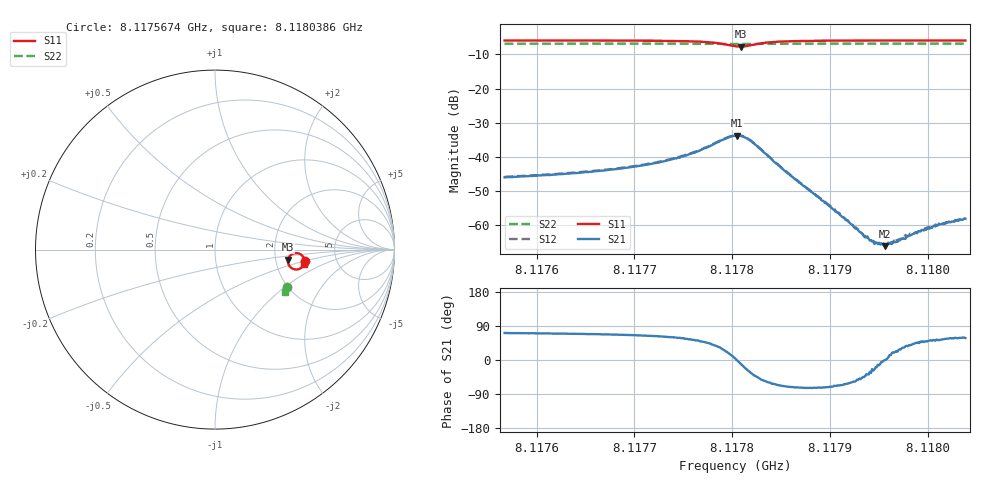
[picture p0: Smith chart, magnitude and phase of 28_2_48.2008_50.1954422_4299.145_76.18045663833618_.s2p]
#  HZ  S  RI  R  50.00
! Rohde & Schwarz Vector Network Analyzer
! Rohde-Schwarz,ZNB20-2Port,1311601062101988,3.16
! Created: UTC 3/20/2024, 11:37:14 AM
! freq[Hz]  re:S11  im:S11  re:S21  im:S21  re:S12  im:S12  re:S22  im:S22
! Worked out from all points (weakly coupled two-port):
!   401 points, 8.1175674 GHz to 8.1180386 GHz, reference 50 ohm
!   highest |S21| = -33.76 dB at 8.1178053 GHz (marker M1); lowest = -66.1 dB at 8.1179561 GHz (marker M2)
!   lowest |S11| = -7.7 dB at 8.1178089 GHz (marker M3), VSWR 2.40, Z = 117 - j15.9 ohm
!   |S11| at or under -10 dB: nowhere
!   |S22| runs from -7.0 to -6.9 dB; largest |S21 - S12| = 0.00064
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8.11756738e9  0.5007 -0.0642  0.00162 0.00478  0.0017 0.00478  0.4025 -0.2065
8.1176463e9  0.4984 -0.074  0.00215 0.00552  0.00227 0.00561  0.4001 -0.2116
8.11769106e9  0.4956 -0.0816  0.00281 0.00635  0.00294 0.00642  0.3985 -0.2145
8.11772522e9  0.491 -0.0898  0.00387 0.00736  0.00403 0.00752  0.3971 -0.2169
8.11776174e9  0.4772 -0.1035  0.00704 0.00915  0.00732 0.00933  0.3955 -0.2194
8.11778883e9  0.4399 -0.1092  0.0149 0.00889  0.0153 0.00878  0.3929 -0.2208
8.11780297e9  0.4089 -0.0798  0.0202 0.00171  0.0207 0.00125  0.3915 -0.2201
8.11780532e9  0.4068 -0.0709  0.0205 -0.000535  0.0209 -0.000789  0.3914 -0.2197
8.11780886e9  0.4072 -0.0564  0.0199 -0.00363  0.0202 -0.00392  0.3915 -0.2194
8.11782064e9  0.434 -0.0229  0.0131 -0.00982  0.0134 -0.0102  0.3927 -0.2189
8.11784302e9  0.4794 -0.0281  0.0038 -0.00758  0.00382 -0.00784  0.394 -0.2211
8.11788189e9  0.4963 -0.051  0.000841 -0.00292  0.000844 -0.00296  0.3931 -0.2245
8.11790191e9  0.498 -0.0578  0.000602 -0.00169  0.000612 -0.00173  0.3926 -0.226
8.1179349e9  0.499 -0.0659  0.000491 -0.00049  0.000474 -0.000513  0.3916 -0.2283
8.11794079e9  0.499 -0.0671  0.000518 -0.000316  0.000491 -0.000359  0.3912 -0.2288
8.11794668e9  0.4989 -0.0681  0.000524 -0.000184  0.000529 -0.000204  0.3911 -0.2291
8.1179561e9  0.499 -0.0698  0.000497 -5.9e-06  0.000522 -7.73e-06  0.3907 -0.2297
8.11796081e9  0.499 -0.0706  0.000526 0.000117  0.000536 0.000135  0.3907 -0.2301
8.11799262e9  0.4989 -0.0753  0.000544 0.000616  0.000575 0.000583  0.3896 -0.2322
8.11800204e9  0.4987 -0.0765  0.000561 0.000703  0.000595 0.000734  0.3892 -0.2327
8.11801264e9  0.4986 -0.0779  0.000619 0.000832  0.000622 0.000848  0.3888 -0.2333
8.11803856e9  0.4982 -0.0809  0.000665 0.00106  0.000673 0.00108  0.3881 -0.2349
